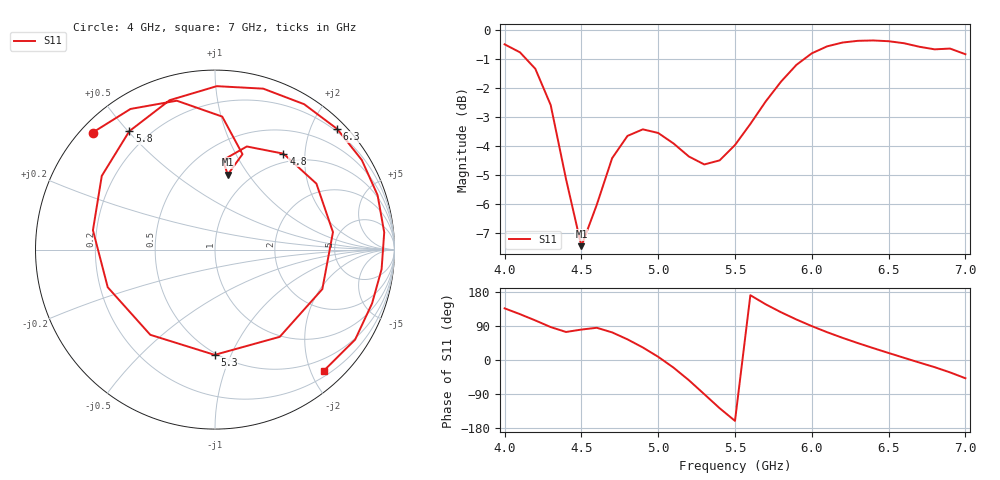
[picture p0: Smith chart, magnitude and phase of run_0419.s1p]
! Touchstone file exported from HFSS 2024.2.0
!  File:  C:/Users/wsak9/Desktop/Sim Fast/Widenad Patch/WP_AI_V1_sweep.aedt
!  Generated:  09:07:25 AM Oct 14, 2026
!  Design:  A1_model
!  Project:  WP_AI_V1_sweep
!  Setup:  Setup1
!  Solution:  Sweep
! Variables:
!  Air_gap = 3.78mm
!  Curve_Amp1 = 2.5
!  Curve_len1 = 1
!  Curve_pos = 11.98mm
!  Extra = 7.63mm
!  H_sub = 0.79mm
!  L_Patch = 19.96mm
!  L_Patch1 = 16.91mm
!  Sx = 1.79mm
!  Sy = 3.42mm
!  WS = 0.7mm
!  W_Patch = 22.05mm
!  W_Patch1 = 9.28mm
!Data is not renormalized
# GHz S MA
! Terminal data exported
! Port[1] = 1
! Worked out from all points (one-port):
!   31 points, 4 GHz to 7 GHz, reference per port
!   lowest |S11| = -7.4 dB at 4.5 GHz (marker M1), VSWR 2.47
!   |S11| at or under -10 dB: nowhere
!   S11 on the Smith chart (normalised r, x): 4 GHz: 0.03, +0.40; 4.8 GHz: 0.85, +1.60; 5.3 GHz: 0.49, -0.87; 5.8 GHz: 0.13, +0.50; 6.3 GHz: 0.15, +2.43; 7 GHz: 0.29, -2.21
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4  0.9435 136.3
4.1  0.9141 121.0
4.2  0.8565 104.4
4.3  0.742 86.9
4.4  0.5533 73.9
4.5  0.4244 80.3
4.6  0.5 85.0
4.7  0.6012 72.9
4.8  0.6567 54.5
4.9  0.6739 33.0
5  0.6644 8.4
5.1  0.6372 -20.2
5.2  0.6052 -53.4
5.3  0.5865 -90.2
5.4  0.5961 -127.2
5.5  0.6334 -160.7
5.6  0.6885 171.0
5.7  0.7527 146.9
5.8  0.8143 125.9
5.9  0.87 106.9
6  0.9106 89.4
6.1  0.9361 73.3
6.2  0.9502 58.5
6.3  0.9568 44.6
6.5  0.9553 18.5
6.7  0.9346 -6.7
6.9  0.9279 -32.7
7  0.9074 -48.1
